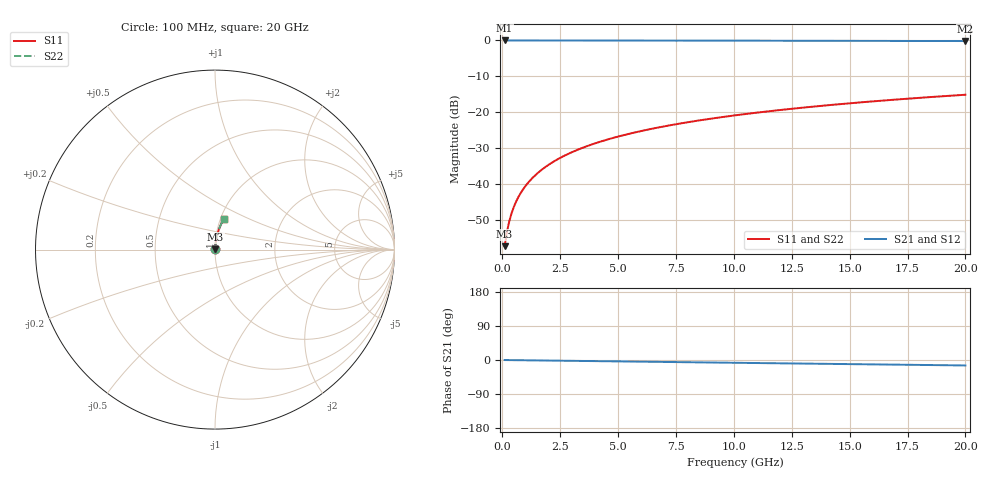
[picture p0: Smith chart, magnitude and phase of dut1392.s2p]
! Touchstone file exported from HFSS 2026.1.0
!  File:  C:/ffzhzh/LocalFiles/Ansys_Project_Files/temp_train_TMRDL_1392_1783166242_43440.aedt
!  Generated:  07:58:30 PM Jul  4, 2026
!  Design:  TMRDL
!  Project:  temp_train_TMRDL_1392_1783166242_43440
! Variables:
!  h_bsmrdl = 2um
!  h_ox = 20um
!  h_rdl = 5um
!  h_sub = 80um
!  h_tmrdl = 5.22um
!  h_tsv = 80um
!  h_via = 3um
!  l_bsmrdl = 300um
!  l_sub = 553.7um
!  l_tmrdl = 153.7um
!  m_sub = 200um
!  pitch = 45.96um
!  r_tsv = 6um
!  s_tmrdl = 10um
!  w_bsmrdl = 18um
!  w_sub = 500um
!  w_tmrdl = 11.79um
!  x_tsv_center1 = 159.595um
!  x_tsv_center2 = 477.595um
!  x_tsv_center3 = 643.085um
!  x_tsv_center4 = 961.085um
!  x_tsv_center5 = 1126.575um
!  x_tsv_center6 = 1444.575um
# GHz S MA R 50.000000
! Terminal data exported
! Port[1] = TM_RDL1_1_T1
! Port[2] = TM_RDL1_1_T2
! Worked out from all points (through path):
!   200 points, 100 MHz to 20 GHz, reference 50 ohm
!   highest |S21| = -0.01 dB at 100 MHz (marker M1); lowest = -0.2 dB at 20 GHz (marker M2)
!   group delay of S21, straight-line fit = 1.99 ps
!   lowest |S11| = -57.2 dB at 100 MHz (marker M3), VSWR 1.00, Z = 50.1 + j0.0966 ohm
!   |S11| at or under -10 dB: start of sweep to end of sweep
!   |S22| runs from -57.2 to -15.1 dB; largest |S21 - S12| = 3.1e-15
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0.1  0.001381 44.3  0.999 -0.1  0.999 -0.1  0.001381 44.3
! Gamma 0 0 0 0
! Port Impedance 50 0 50 0
0.2  0.00217 62.2  0.999 -0.2  0.999 -0.2  0.00217 62.2
0.3  0.003049 70.0  0.999 -0.2  0.999 -0.2  0.003049 70.0
0.4  0.003952 74.2  0.9989 -0.3  0.9989 -0.3  0.003952 74.2
0.5  0.004863 76.9  0.9989 -0.4  0.9989 -0.4  0.004863 76.9
0.6  0.005777 78.6  0.9989 -0.5  0.9989 -0.5  0.005777 78.6
0.8  0.007613 80.9  0.9988 -0.6  0.9988 -0.6  0.007613 80.9
1.1  0.01038 82.7  0.9988 -0.8  0.9988 -0.8  0.01038 82.7
1.5  0.01407 83.9  0.9987 -1.1  0.9987 -1.1  0.01407 83.9
1.8  0.01684 84.3  0.9986 -1.3  0.9986 -1.3  0.01684 84.3
2.1  0.01961 84.6  0.9985 -1.6  0.9985 -1.6  0.01961 84.6
2.7  0.02514 84.7  0.9982 -2.0  0.9982 -2.0  0.02514 84.7
3.5  0.03247 84.5  0.9978 -2.6  0.9978 -2.6  0.03247 84.5
4.2  0.03884 84.2  0.9975 -3.1  0.9975 -3.1  0.03884 84.2
5  0.04608 83.8  0.9969 -3.7  0.9969 -3.7  0.04608 83.8
5.9  0.05417 83.3  0.9963 -4.4  0.9963 -4.4  0.05417 83.3
6.8  0.0622 82.8  0.9956 -5.0  0.9956 -5.0  0.0622 82.8
8.3  0.0755 81.8  0.9944 -6.1  0.9944 -6.1  0.0755 81.8
10.1  0.09131 80.7  0.9928 -7.4  0.9928 -7.4  0.09131 80.7
13.4  0.12 78.6  0.9892 -9.7  0.9892 -9.7  0.12 78.6
16.7  0.1481 76.4  0.985 -12.1  0.985 -12.1  0.1481 76.4
20  0.1758 74.2  0.9801 -14.4  0.9801 -14.4  0.1758 74.2
